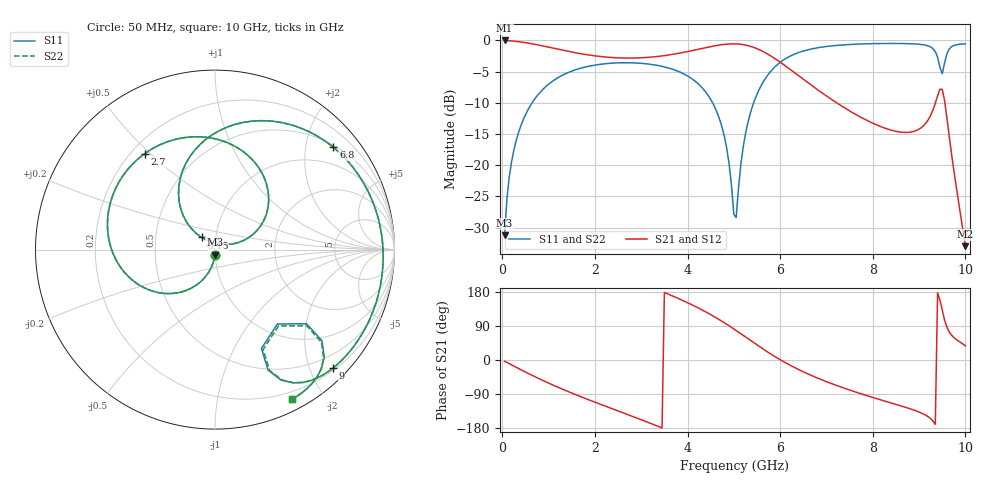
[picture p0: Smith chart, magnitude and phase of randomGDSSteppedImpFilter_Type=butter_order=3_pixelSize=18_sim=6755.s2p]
! freq	dB(S11)	phase(S11)	dB(S12)	phase(S12)
!  dB(S21)	phase(S21)	dB(S22)	phase(S22)
!S-par simulation data
#  GHz  S  DB  R 50
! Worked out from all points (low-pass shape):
!   200 points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, 50 MHz to 10 GHz, reference 50 ohm
!   highest |S21| = -0.01 dB at 50 MHz (marker M1); lowest = -33.0 dB at 10 GHz (marker M2)
!   |S21| within 3 dB of the highest: start of sweep to 5.906 GHz
!   lowest |S11| = -31.2 dB at 50 MHz (marker M3), VSWR 1.06, Z = 49.8 - j2.74 ohm
!   |S11| at or under -10 dB: start of sweep to 643.7 MHz; 4.541 GHz to 5.429 GHz (887.7 MHz wide, 17.8 % of centre)
!   |S22| runs from -31.2 to -0.5 dB; largest |S21 - S12| = 0
!   S11 on the Smith chart (normalised r, x): 50 MHz: 1.00, -0.05; 2.7 GHz: 0.25, +0.48; 5.15 GHz: 0.85, +0.12; 6.8 GHz: 0.55, +2.59; 9 GHz: 0.24, -2.38; 10 GHz: 0.12, -1.64
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0.05  -31.21 -92.0  -0.01 -3.3  -0.01 -3.3  -31.22 -92.0
0.2  -19.46 -102.4  -0.09 -12.9  -0.09 -12.9  -19.45 -102.4
0.5  -11.92 -121.8  -0.36 -31.8  -0.36 -31.8  -11.92 -121.8
1.05  -6.72 -154.0  -1.17 -63.7  -1.17 -63.7  -6.72 -154.0
1.75  -4.34 170.1  -2.20 -99.5  -2.20 -99.5  -4.34 170.1
2.7  -3.57 126.1  -2.83 -143.6  -2.83 -143.6  -3.57 126.2
3.4  -4.08 93.3  -2.53 -176.8  -2.53 -176.8  -4.08 93.3
4.55  -10.12 30.2  -0.92 116.2  -0.92 116.2  -10.12 30.3
4.8  -15.55 17.6  -0.63 97.8  -0.63 97.8  -15.55 17.8
5.05  -28.38 101.1  -0.56 77.7  -0.56 77.7  -28.27 100.8
5.15  -19.96 137.8  -0.62 69.4  -0.62 69.4  -19.94 137.5
5.4  -10.61 130.3  -1.05 48.2  -1.05 48.2  -10.60 130.2
5.75  -5.39 105.0  -2.27 19.4  -2.27 19.4  -5.39 105.0
6.7  -1.33 45.9  -7.32 -42.1  -7.32 -42.1  -1.33 45.9
6.8  -1.19 40.8  -7.86 -47.3  -7.86 -47.3  -1.19 40.8
7.5  -0.66 9.5  -11.29 -79.3  -11.29 -79.3  -0.66 9.6
8.35  -0.49 -22.1  -14.27 -111.7  -14.27 -111.7  -0.49 -22.1
9  -0.62 -45.2  -14.22 -137.3  -14.22 -137.3  -0.61 -45.1
9.35  -1.79 -63.2  -10.08 -169.7  -10.08 -169.7  -1.75 -62.8
9.5  -5.34 -50.0  -7.84 131.8  -7.84 131.8  -5.14 -50.2
9.65  -1.38 -44.5  -15.35 74.3  -15.35 74.3  -1.35 -45.0
10  -0.56 -62.6  -32.96 37.5  -32.96 37.5  -0.56 -62.8
